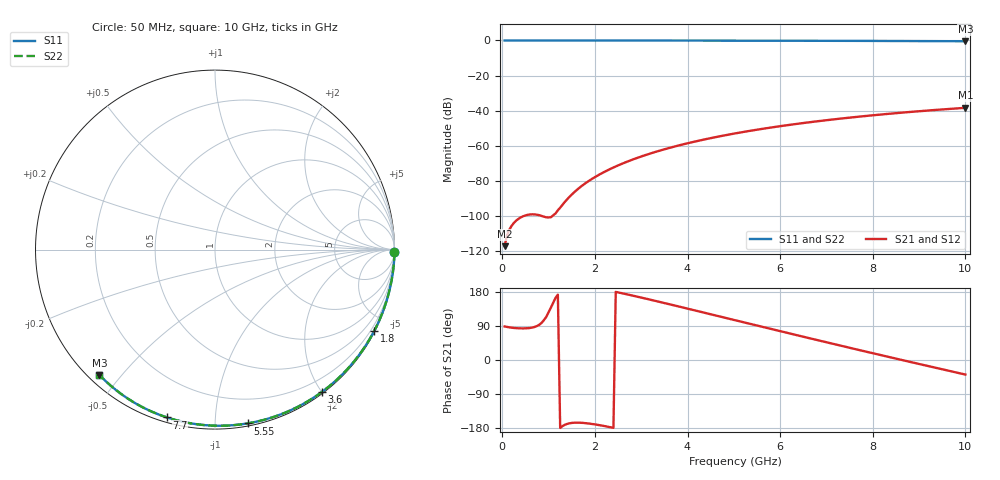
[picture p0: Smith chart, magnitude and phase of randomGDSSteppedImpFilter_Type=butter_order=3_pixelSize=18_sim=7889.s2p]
! freq	dB(S11)	phase(S11)	dB(S12)	phase(S12)
!  dB(S21)	phase(S21)	dB(S22)	phase(S22)
!S-par simulation data
#  GHz  S  DB  R 50
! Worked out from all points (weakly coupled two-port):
!   200 points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, 50 MHz to 10 GHz, reference 50 ohm
!   highest |S21| = -38.41 dB at 10 GHz (marker M1); lowest = -117.3 dB at 50 MHz (marker M2)
!   lowest |S11| = -0.4 dB at 10 GHz (marker M3), VSWR 38.76, Z = 1.54 - j21.9 ohm
!   |S11| at or under -10 dB: nowhere
!   |S22| runs from -0.4 to 0.0 dB; largest |S21 - S12| = 0
!   S11 on the Smith chart (normalised r, x): 50 MHz: open; 1.8 GHz: 0.04, -4.13; 3.6 GHz: 0.02, -2.00; 5.55 GHz: 0.02, -1.20; 7.7 GHz: 0.02, -0.75; 10 GHz: 0.03, -0.44
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0.05  -0.00 -0.8  -117.31 88.6  -117.31 88.6  -0.00 -0.8
0.9  -0.02 -13.7  -100.52 105.4  -100.52 105.4  -0.02 -13.7
1.75  -0.03 -26.5  -82.29 -166.1  -82.29 -166.1  -0.03 -26.5
1.8  -0.03 -27.2  -81.33 -166.6  -81.33 -166.6  -0.03 -27.2
1.85  -0.04 -27.9  -80.43 -167.3  -80.43 -167.3  -0.04 -27.9
1.9  -0.04 -28.7  -79.56 -168.1  -79.56 -168.1  -0.04 -28.7
2.05  -0.04 -30.9  -77.16 -170.9  -77.16 -170.9  -0.04 -30.9
2.25  -0.04 -33.8  -74.33 -175.3  -74.33 -175.3  -0.04 -33.8
2.45  -0.05 -36.7  -71.83 179.7  -71.83 179.7  -0.05 -36.7
2.65  -0.05 -39.6  -69.59 174.4  -69.59 174.4  -0.05 -39.6
3  -0.06 -44.7  -66.17 164.8  -66.17 164.8  -0.06 -44.7
3.4  -0.07 -50.4  -62.82 153.3  -62.82 153.3  -0.07 -50.4
3.6  -0.07 -53.2  -61.33 147.4  -61.33 147.4  -0.07 -53.2
4.3  -0.09 -62.8  -56.82 126.7  -56.82 126.7  -0.09 -62.8
5.05  -0.11 -72.9  -52.90 104.3  -52.90 104.3  -0.11 -72.9
5.55  -0.13 -79.4  -50.67 89.4  -50.67 89.4  -0.13 -79.4
6.1  -0.15 -86.4  -48.51 73.2  -48.51 73.2  -0.15 -86.4
6.7  -0.18 -93.9  -46.42 55.5  -46.42 55.5  -0.18 -93.9
7.7  -0.24 -106.0  -43.46 26.5  -43.46 26.5  -0.24 -106.0
8.35  -0.29 -113.7  -41.81 7.9  -41.81 7.9  -0.29 -113.7
9.15  -0.36 -122.9  -40.03 -14.7  -40.03 -14.7  -0.36 -123.0
10  -0.45 -132.7  -38.41 -38.4  -38.41 -38.4  -0.45 -132.7
